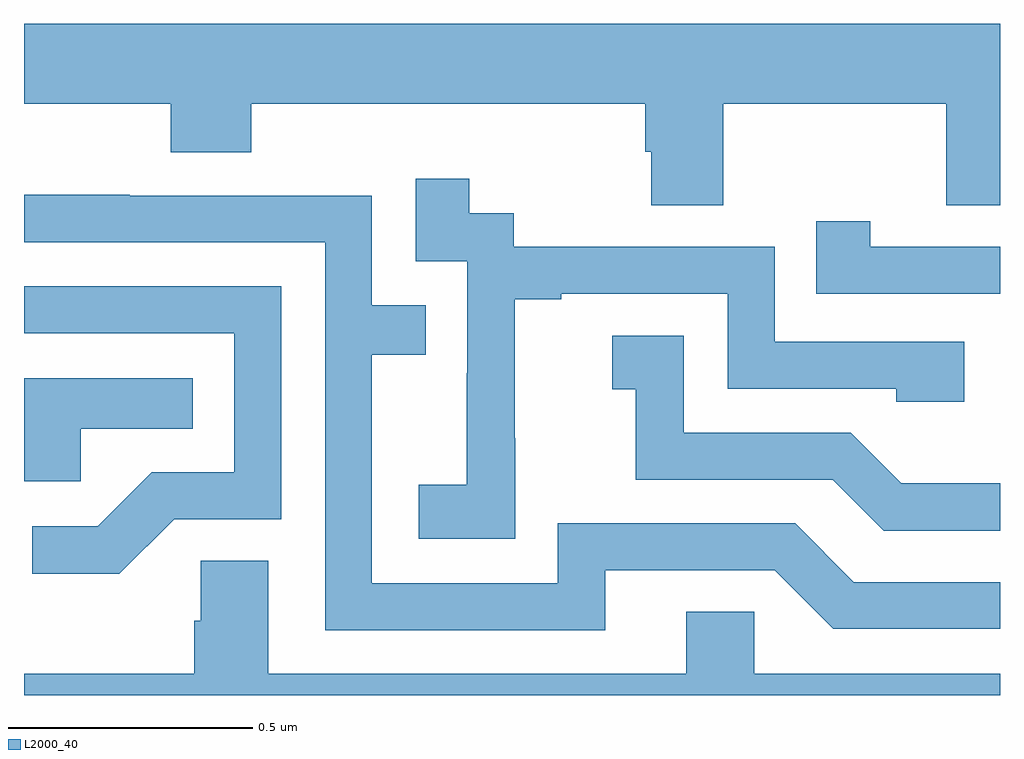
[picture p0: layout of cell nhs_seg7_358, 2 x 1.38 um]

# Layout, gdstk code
import gdstk
lib = gdstk.Library(unit=1e-6, precision=1e-09)
def P(c, l, *ps):  # polygons
    for p in ps: c.add(gdstk.Polygon(p, *l))
L2000_40 = (2000, 40)

nhs_seg7_358 = lib.new_cell('nhs_seg7_358')
P(nhs_seg7_358, L2000_40, [(116.433,1071.212),(116.89,1071.212),(116.89,1071.004),(117,1071.004),(117,1071.376),(115,1071.376),(115,1071.212),(115.301,1071.212),(115.301,1071.113),(115.466,1071.113),(115.466,1071.212),(116.273,1071.212),(116.273,1071.114),(116.285,1071.114),(116.285,1071.004),(116.433,1071.004)],
  [(116.007,1070.527),(116.006,1070.527),(116.006,1070.811),(116.101,1070.811),(116.101,1070.823),(116.442,1070.823),(116.442,1070.628),(116.787,1070.628),(116.787,1070.601),(116.927,1070.601),(116.927,1070.724),(116.538,1070.724),(116.538,1070.919),(116.004,1070.919),(116.004,1070.988),(115.912,1070.988),(115.912,1071.058),(115.803,1071.058),(115.803,1070.889),(115.908,1070.889),(115.908,1070.66),(115.907,1070.66),(115.907,1070.431),(115.809,1070.431),(115.809,1070.321),(116.007,1070.321)],
  [(116.191,1070.256),(116.538,1070.256),(116.658,1070.136),(117,1070.136),(117,1070.232),(116.7,1070.232),(116.58,1070.352),(116.094,1070.352),(116.094,1070.229),(115.713,1070.229),(115.713,1070.698),(115.823,1070.698),(115.823,1070.799),(115.713,1070.799),(115.713,1071.024),(115.217,1071.024),(115.217,1071.026),(115,1071.026),(115,1070.928),(115.617,1070.928),(115.617,1070.133),(116.191,1070.133)],
  [(117,1070.919),(116.734,1070.919),(116.734,1070.971),(116.623,1070.971),(116.623,1070.823),(117,1070.823)],
  [(115.308,1070.361),(115.527,1070.361),(115.527,1070.838),(115,1070.838),(115,1070.742),(115.431,1070.742),(115.431,1070.457),(115.262,1070.457),(115.151,1070.346),(115.017,1070.346),(115.017,1070.249),(115.195,1070.249)],
  [(117,1070.434),(116.798,1070.434),(116.694,1070.538),(116.352,1070.538),(116.352,1070.737),(116.205,1070.737),(116.205,1070.627),(116.254,1070.627),(116.254,1070.442),(116.657,1070.442),(116.762,1070.337),(117,1070.337)],
  [(115.116,1070.546),(115.346,1070.546),(115.346,1070.65),(115,1070.65),(115,1070.438),(115.116,1070.438)],
  [(117,1070.044),(116.496,1070.044),(116.496,1070.171),(116.357,1070.171),(116.357,1070.044),(115.501,1070.044),(115.501,1070.276),(115.362,1070.276),(115.362,1070.153),(115.349,1070.153),(115.349,1070.044),(115,1070.044),(115,1070),(117,1070)])

lib.write_gds('nhs_seg7_358.gds')
